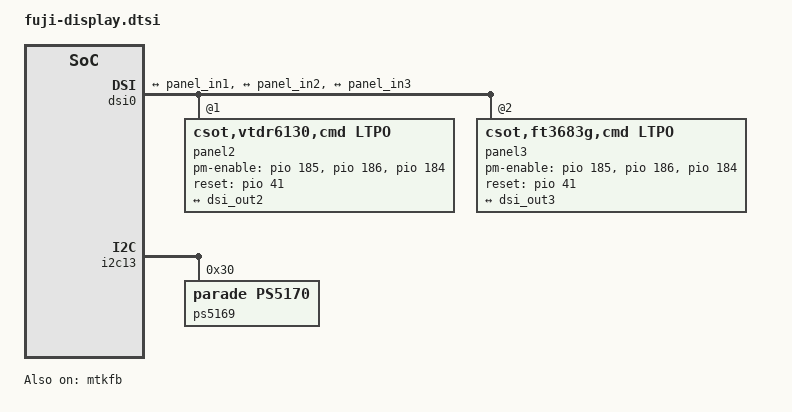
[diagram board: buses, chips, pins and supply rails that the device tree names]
/* Copyright (c) 2023, Motorola Mobility Inc. All rights reserved.
 *
 * This program is free software; you can redistribute it and/or modify
 * it under the terms of the GNU General Public License version 2 and
 * only version 2 as published by the Free Software Foundation.
 *
 * This program is distributed in the hope that it will be useful,
 * but WITHOUT ANY WARRANTY; without even the implied warranty of
 * MERCHANTABILITY or FITNESS FOR A PARTICULAR PURPOSE.  See the
 * GNU General Public License for more details.
 */

&mtk_leds {
	backlight {
		/delete-property/ max-hw-brightness;
		/delete-property/ max-brightness;
		max-brightness = <4080>;
		max-hw-brightness = <4080>;
	};
};

&mipi_tx_config0 {
	mipi-volt = <11>;
};

&dsi0 {
	status = "okay";
	#address-cells = <1>;
	#size-cells = <0>;
	panel1@0 {
		/delete-property/ compatible;
		/delete-property/ pm-enable-gpios;
		/delete-property/ reset-gpios;
		/delete-property/ gate-ic;
		/delete-property/ swap-from-dts;
		/delete-property/ lane-swap-setting;
		/delete-property/ pn-swap-setting;

                compatible = "mot,dummy,vdo,60hz";
                reg = <0>;
                reset-gpios = <&pio 41 0>;
		pinctrl-names = "default";
		port {
			panel_in1: endpoint {
				remote-endpoint = <&dsi_out>;
			};
		};
	};

	panel2@1 {
		/delete-property/ compatible;
		/delete-property/ pm-enable-gpios;
		/delete-property/ reset-gpios;
		/delete-property/ gate-ic;

		compatible = "csot,vtdr6130,cmd,ltpo";
		reg = <1>;

                pm-enable-gpios = <&pio 185 0>,
                          <&pio 186 0>,
                          <&pio 184 0>;
                reset-gpios = <&pio 41 0>;
		pinctrl-names = "default";
		port {
			panel_in2: endpoint {
				remote-endpoint = <&dsi_out2>;
			};
		};
	};
	panel3@2 {
		/delete-property/ compatible;
		/delete-property/ pm-enable-gpios;
		/delete-property/ reset-gpios;
		/delete-property/ gate-ic;

		compatible = "csot,ft3683g,cmd,ltpo";
		reg = <2>;

                pm-enable-gpios = <&pio 185 0>,
                          <&pio 186 0>,
                          <&pio 184 0>;
                reset-gpios = <&pio 41 0>;
		pinctrl-names = "default";
		port {
			panel_in3: endpoint {
				remote-endpoint = <&dsi_out3>;
			};
		};
	};

	ports {
		port {
			dsi_out: endpoint {
				remote-endpoint = <&panel_in1>;
			};
			dsi_out2: endpoint2 {
				remote-endpoint = <&panel_in2>;
			};
			dsi_out3: endpoint3 {
				remote-endpoint = <&panel_in3>;
			};
		};
	};
};


&mtkfb {
	/delete-property/ pinctrl-names;
	/delete-property/ pinctrl-0;
	/delete-property/ pinctrl-1;
	/delete-property/ pinctrl-2;
	/delete-property/ pinctrl-3;
	/delete-property/ pinctrl-4;
	/delete-property/ pinctrl-5;
	/delete-property/ pinctrl-6;
	/delete-property/ pinctrl-7;
	/delete-property/ pinctrl-8;
	/delete-property/ pinctrl-9;
	/delete-property/ pinctrl-10;

	pinctrl-names = "lcm_rst_out0_gpio", "mode_te_te",
		"oled_vci_en_gpio", "oled_vio_en_gpio",
		"oled_dvdd_en_gpio","oled_dvdd_in_en_gpio";

	pinctrl-0 = <&mtkfb_pins_lcm_rst_out_gpio>;
	pinctrl-1 = <&mtkfb_pins_lcm_dsi_te>;
	pinctrl-2 = <&mtkfb_pins_oled_vci_en>;
	pinctrl-3 = <&mtkfb_pins_oled_vio_en>;
	pinctrl-4 = <&mtkfb_pins_oled_dvdd_en>;
	pinctrl-5 = <&mtkfb_pins_oled_dvdd_in_en>;

	status = "okay";

};


&pio {
	mtkfb_pins_oled_vci_en: oled_vci_en_gpio {
		pins_cmd_dat {
			pinmux = <PINMUX_GPIO184__FUNC_GPIO184>;
			slew-rate = <1>;
			output-low;
		};
	};

	mtkfb_pins_oled_vio_en: oled_vio_en_gpio {
		pins_cmd_dat {
			pinmux = <PINMUX_GPIO185__FUNC_GPIO185>;
			slew-rate = <1>;
			output-low;
		};
	};

	mtkfb_pins_oled_dvdd_en: oled_dvdd_en_gpio {
		pins_cmd_dat {
			pinmux = <PINMUX_GPIO186__FUNC_GPIO186>;
			slew-rate = <1>;
			output-low;
		};
	};

	mtkfb_pins_oled_dvdd_in_en: oled_dvdd_in_en_gpio {
		pins_cmd_dat {
			pinmux = <PINMUX_GPIO62__FUNC_GPIO62>;
			slew-rate = <1>;
			output-low;
		};
	};

	mtkfb_pins_lcm_rst_out_gpio: lcm_rst_out_gpio {
		pins_cmd_dat {
			pinmux = <PINMUX_GPIO41__FUNC_GPIO41>;
			slew-rate = <1>;
			output-low;
		};
	};
};

&i2c6 {
	gate_ic: gate-ic@11 {
		status = "disabled";
	};
};

&ps5170 {
       status = "disabled";
};

&i2c13 {
	ps5169: ps5169@30 {
		compatible = "parade,ps5170";
		reg = <0x30>;
		mediatek,vs-voter = <&pmic 0x189a 0x20 1>;
		pinctrl-names = "enable", "disable";
		pinctrl-0 = <&ps_enable>;
		pinctrl-1 = <&ps_disable>;

		ps5169,reg-num = <22>;
		ps5169,reg-init = <
			0x51 0x87
			0x50 0x10
			0x54 0x11
			0x5d 0x56
			0x52 0x20
			0x55 0x00
			0x56 0x00
			0x57 0x00
			0x58 0x00
			0x59 0x00
			0x5a 0x00
			0x5b 0x00
			0x5e 0x06
			0x5f 0x00
			0x60 0x00
			0x61 0x03
			0x65 0x40
			0x66 0x00
			0x67 0x03
			0x75 0x0c
			0x77 0x00
			0x78 0x7c
		>;

		status = "okay";
	};
};

&dp_tx {
	mtk-dp-downgrade;
};

&dispsys_config {
	force-disable-idlemgr-by-repaint;

	helper-value = <0>, /*MTK_DRM_OPT_STAGE*/
		<1>, /*MTK_DRM_OPT_USE_CMDQ*/
		<1>, /*MTK_DRM_OPT_USE_M4U*/
		<1>, /*MTK_DRM_OPT_MMQOS_SUPPORT*/
		<1>, /*MTK_DRM_OPT_MMDVFS_SUPPORT*/
		<0>, /*MTK_DRM_OPT_SODI_SUPPORT*/
		<1>, /*MTK_DRM_OPT_IDLE_MGR*/
		<0>, /*MTK_DRM_OPT_IDLEMGR_SWTCH_DECOUPLE*/
		<1>, /*MTK_DRM_OPT_IDLEMGR_BY_REPAINT*/
		<0>, /*MTK_DRM_OPT_IDLEMGR_ENTER_ULPS*/
		<0>, /*MTK_DRM_OPT_IDLEMGR_KEEP_LP11*/
		<0>, /*MTK_DRM_OPT_DYNAMIC_RDMA_GOLDEN_SETTING*/
		<1>, /*MTK_DRM_OPT_IDLEMGR_DISABLE_ROUTINE_IRQ*/
		<1>, /*MTK_DRM_OPT_IDLEMGR_ASYNC*/
		<0>, /*MTK_DRM_OPT_MET_LOG*/
		<1>, /*MTK_DRM_OPT_USE_PQ*/
		<1>, /*MTK_DRM_OPT_ESD_CHECK_RECOVERY*/
		<1>, /*MTK_DRM_OPT_ESD_CHECK_SWITCH*/
		<1>, /*MTK_DRM_OPT_PRESENT_FENCE*/
		<0>, /*MTK_DRM_OPT_RDMA_UNDERFLOW_AEE*/
		<1>, /*MTK_DRM_OPT_DSI_UNDERRUN_AEE*/
		<0>, /*MTK_DRM_OPT_ODDMR_OD_AEE*/
		<0>, /*MTK_DRM_OPT_ODDMR_DMR_AEE*/
		<1>, /*MTK_DRM_OPT_HRT*/
		<1>, /*MTK_DRM_OPT_HRT_MODE*/
		<0>, /*MTK_DRM_OPT_DELAYED_TRIGGER*/
		<1>, /*MTK_DRM_OPT_OVL_EXT_LAYER*/
		<1>, /*MTK_DRM_OPT_AOD*/
		<1>, /*MTK_DRM_OPT_RPO*/
		<0>, /*MTK_DRM_OPT_DUAL_PIPE*/
		<0>, /*MTK_DRM_OPT_DC_BY_HRT*/
		<1>, /*MTK_DRM_OPT_OVL_WCG*/
		<0>, /*MTK_DRM_OPT_OVL_SBCH*/
		<1>, /*MTK_DRM_OPT_COMMIT_NO_WAIT_VBLANK*/
		<0>, /*MTK_DRM_OPT_MET*/
		<0>, /*MTK_DRM_OPT_REG_PARSER_RAW_DUMP*/
		<0>, /*MTK_DRM_OPT_VP_PQ*/
		<0>, /*MTK_DRM_OPT_GAME_PQ*/
		<0>, /*MTK_DRM_OPT_MMPATH*/
		<0>, /*MTK_DRM_OPT_HBM*/
		<0>, /*MTK_DRM_OPT_VDS_PATH_SWITCH*/
		<0>, /*MTK_DRM_OPT_LAYER_REC*/
		<1>, /*MTK_DRM_OPT_CLEAR_LAYER*/
		<1>, /*MTK_DRM_OPT_LFR*/
		<0>, /*MTK_DRM_OPT_SF_PF*/
		<1>, /*MTK_DRM_OPT_DYN_MIPI_CHANGE*/
		<1>, /*MTK_DRM_OPT_PRIM_DUAL_PIPE*/
		<1>, /*MTK_DRM_OPT_MSYNC2_0*/
		<1>, /*MTK_DRM_OPT_MML_PRIMARY*/
		<1>, /*MTK_DRM_OPT_MML_SUPPORT_CMD_MODE*/
		<1>, /*MTK_DRM_OPT_MML_PQ*/
		<1>, /*MTK_DRM_OPT_MML_IR*/
		<0>, /*MTK_DRM_OPT_DUAL_TE*/
		<1>, /*MTK_DRM_OPT_RES_SWITCH*/
		<0>, /*MTK_DRM_OPT_PREFETCH_TE*/
		<0>, /*MTK_DRM_OPT_VIDLE_APSRC_OFF*/
		<0>, /*MTK_DRM_OPT_VIDLE_DSI_PLL_OFF*/
		<0>, /*MTK_DRM_OPT_CHECK_TRIGGER_MERGE*/
		<1>, /*MTK_DRM_OPT_VIRTUAL_DISP*/
		<1>, /*MTK_DRM_OPT_OVL_BW_MONITOR*/
		<0>, /*MTK_DRM_OPT_GPU_CACHE*/
		<1>, /*MTK_DRM_OPT_SPHRT*/
		<1>, /*MTK_DRM_OPT_SDPA_OVL_SWITCH*/
		<1>, /*MTK_DRM_OPT_HRT_BY_LARB*/
		<1>, /*MTK_DRM_OPT_RES_SWITCH_ON_AP*/
		<1>, /*MTK_DRM_OPT_TILE_OVERHEAD*/
		<0>, /*MTK_DRM_OPT_VBLANK_CONFIG_REC*/
		<1>; /*MTK_DRM_OPT_OVL_WCG_BY_COLOR_MODE*/
};
